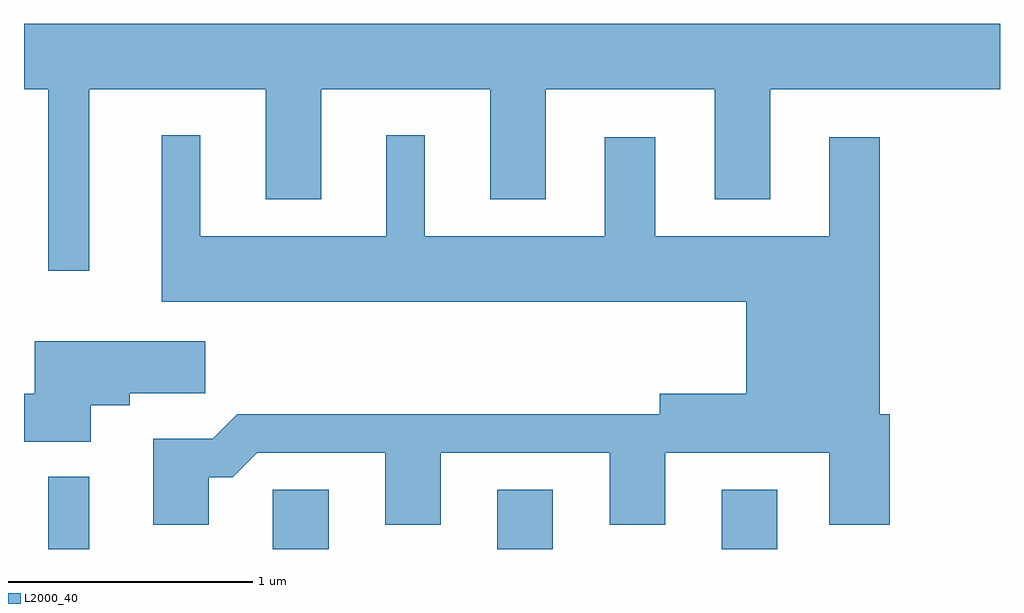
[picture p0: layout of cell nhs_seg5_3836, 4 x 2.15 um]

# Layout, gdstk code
import gdstk
lib = gdstk.Library(unit=1e-6, precision=1e-09)
def R(c, l, rs):  # rectangles x0, y0, x1, y1
    for r in rs: c.add(gdstk.rectangle(r[:2], r[2:], *l))
def A(c, l, x, y, w, h, nx, ny, dx, dy):  # array of equal rectangles
    R(c, l, [(x+i*dx, y+j*dy, x+i*dx+w, y+j*dy+h) for i in range(nx) for j in range(ny)])
def P(c, l, *ps):  # polygons
    for p in ps: c.add(gdstk.Polygon(p, *l))
L2000_40 = (2000, 40)

nhs_seg5_3836 = lib.new_cell('nhs_seg5_3836')
A(nhs_seg5_3836, L2000_40, 300.631, 1406.072, 0.228, 0.242, 3, 1, 0.92, 0)
R(nhs_seg5_3836, L2000_40, [(299.711,1406.072,299.879,1406.368)])
P(nhs_seg5_3836, L2000_40, [(299.611,1407.956),(299.711,1407.956),(299.711,1407.213),(299.879,1407.213),(299.879,1407.956),(300.601,1407.956),(300.601,1407.506),(300.829,1407.506),(300.829,1407.956),(301.521,1407.956),(301.521,1407.506),(301.749,1407.506),(301.749,1407.956),(302.441,1407.956),(302.441,1407.506),(302.669,1407.506),(302.669,1407.956),(303.611,1407.956),(303.611,1408.224),(299.611,1408.224)],
  [(300.369,1406.366),(300.467,1406.366),(300.567,1406.466),(301.091,1406.466),(301.091,1406.171),(301.319,1406.171),(301.319,1406.466),(302.011,1406.466),(302.011,1406.171),(302.239,1406.171),(302.239,1406.466),(302.911,1406.466),(302.911,1406.171),(303.159,1406.171),(303.159,1406.624),(303.119,1406.624),(303.119,1407.759),(302.911,1407.759),(302.911,1407.354),(302.199,1407.354),(302.199,1407.759),(301.991,1407.759),(301.991,1407.354),(301.254,1407.354),(301.254,1407.768),(301.096,1407.768),(301.096,1407.354),(300.334,1407.354),(300.334,1407.768),(300.176,1407.768),(300.176,1407.086),(302.571,1407.086),(302.571,1406.709),(302.216,1406.709),(302.216,1406.624),(300.484,1406.624),(300.384,1406.524),(300.141,1406.524),(300.141,1406.171),(300.369,1406.171)],
  [(299.884,1406.661),(300.044,1406.661),(300.044,1406.711),(300.354,1406.711),(300.354,1406.924),(299.656,1406.924),(299.656,1406.709),(299.611,1406.709),(299.611,1406.511),(299.884,1406.511)])

lib.write_gds('nhs_seg5_3836.gds')
